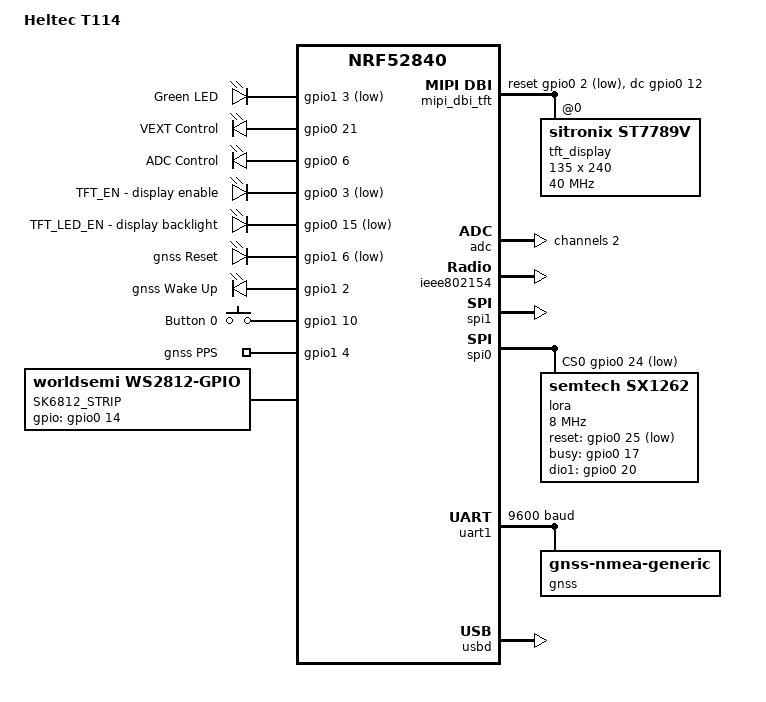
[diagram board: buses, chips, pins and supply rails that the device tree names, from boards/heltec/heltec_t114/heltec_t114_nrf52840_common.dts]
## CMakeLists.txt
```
cmake_minimum_required(VERSION 3.20.0)

set(APP "t114-support")
set(CXX_STANDARD C++17)
# list(APPEND BOARD_ROOT ${CMAKE_CURRENT_SOURCE_DIR})
find_package(Zephyr REQUIRED HINTS $ENV{ZEPHYR_BASE})

project(${APP})

file(GLOB_RECURSE APP_C_SOURCES 
    ${CMAKE_CURRENT_SOURCE_DIR}/src/*.c
    ${CMAKE_CURRENT_SOURCE_DIR}/boards/*.c
)

file(GLOB_RECURSE APP_H_SOURCES 
    ${CMAKE_CURRENT_SOURCE_DIR}/src/*.h
    ${CMAKE_CURRENT_SOURCE_DIR}/boards/*.h
)

target_sources(app PRIVATE ${APP_C_SOURCES})
target_include_directories(app PRIVATE src ${ZEPHYR_BASE}/boards/heltec/heltec_t114_v2)

set(ALLOWED_BOARDS "promicro_nrf52840;heltec_t114_v2")
list(FIND ALLOWED_BOARDS ${BOARD} BOARD_INDEX)
if(BOARD_INDEX EQUAL -1)
  message(FATAL_ERROR 
    "This application is intended to be built only for the following boards: ${ALLOWED_BOARDS}. Current BOARD is: ${BOARD}")
endif()


add_custom_target(fix
    COMMAND clang-format -i --style=file:${ZEPHYR_BASE}/.clang-format ${APP_C_SOURCES} ${APP_H_SOURCES}
    COMMENT "Formatting source files with Zephyr style"
)
```

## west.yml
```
manifest:
  remotes:
    - name: zephyrproject
      url-base: https://github.com/zephyrproject-rtos
    - name: zephyr-fork
      url-base: https://github.com/fgr-17

  defaults:
    remote: zephyrproject

  projects:
    - name: zephyr
      path: zephyr
      remote: zephyr-fork
      # revision: v4.3.0
      revision: heltec_t114_v2
      import: true
      west-commands: scripts/west-commands.yml 

  self:
    path: .
```

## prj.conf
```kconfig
CONFIG_GPIO=y

CONFIG_UART_LINE_CTRL=y
CONFIG_LOG=y

CONFIG_SERIAL=y
CONFIG_GPIO=y
CONFIG_BOOTLOADER_MCUBOOT=n

CONFIG_LED_STRIP=y

CONFIG_ADC=y

# Display support - SPI only
CONFIG_DISPLAY=y
CONFIG_SPI=y

# ST7735 display driver  
CONFIG_ST7789V=y

# SX1262 support
CONFIG_LORA=y
CONFIG_LORA_SX126X=y

# GNSS support
CONFIG_SERIAL=y
CONFIG_UART_INTERRUPT_DRIVEN=y
CONFIG_RING_BUFFER=y
CONFIG_GNSS=y
CONFIG_GNSS_SATELLITES=y
CONFIG_STATIC_INIT_GNU=y

CONFIG_ASSERT=n
CONFIG_STACK_SENTINEL=n
CONFIG_SIZE_OPTIMIZATIONS=y
CONFIG_NO_OPTIMIZATIONS=n
```

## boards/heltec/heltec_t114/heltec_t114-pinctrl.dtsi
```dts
/*
 * Copyright (c) 2024 MASSDRIVER EI (massdriver.space)
 * SPDX-License-Identifier: Apache-2.0
 */

&pinctrl {
	uart0_default: uart0_default {
		group1 {
			psels = <NRF_PSEL(UART_TX, 0, 9)>,
				<NRF_PSEL(UART_RX, 0, 10)>;
		};
	};

	uart0_sleep: uart0_sleep {
		group1 {
			psels = <NRF_PSEL(UART_TX, 0, 9)>,
				<NRF_PSEL(UART_RX, 0, 10)>;
			low-power-enable;
		};
	};

	i2c1_default: i2c1_default {
		group1 {
			psels = <NRF_PSEL(TWIM_SDA, 1, 4)>,
				<NRF_PSEL(TWIM_SCL, 1, 6)>;
		};
	};

	i2c1_sleep: i2c1_sleep {
		group1 {
			psels = <NRF_PSEL(TWIM_SDA, 1, 4)>,
				<NRF_PSEL(TWIM_SCL, 1, 6)>;
			low-power-enable;
		};
	};

	pwm0_default: pwm0_default {
		group1 {
			psels = <NRF_PSEL(PWM_OUT0, 0, 15)>;
		};
	};

	pwm0_sleep: pwm0_sleep {
		group1 {
			psels = <NRF_PSEL(PWM_OUT0, 0, 15)>;
			low-power-enable;
		};
	};

	tft_spi_pins: tft_spi_pins {
        group1 {
            psels = <NRF_PSEL(SPIM_SCK, 1, 8)>,
                   <NRF_PSEL(SPIM_MOSI, 1, 9)>;
        };
    };

	lora_spi_pins: lora_spi_pins {
		group1 {
			psels = <NRF_PSEL(SPIM_SCK, 0, 19)>,
					<NRF_PSEL(SPIM_MOSI, 0, 22)>,
					<NRF_PSEL(SPIM_MISO, 0, 23)>;
		};
	};
};
```

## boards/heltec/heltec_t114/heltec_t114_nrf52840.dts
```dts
/*
 * Copyright (c) 2024 MASSDRIVER EI (massdriver.space)
 *
 * SPDX-License-Identifier: Apache-2.0
 */

/dts-v1/;
#include "heltec_t114_nrf52840_common.dts"
#include <nordic/nrf52840_partition.dtsi>
```

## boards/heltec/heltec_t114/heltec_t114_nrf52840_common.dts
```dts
/*
 * Copyright (c) 2024 MASSDRIVER EI (massdriver.space)
 * Copyright (c) 2018-2023 Nordic Semiconductor ASA
 * Copyright (c) 2017 Linaro Limited
 *
 * SPDX-License-Identifier: Apache-2.0
 */

/dts-v1/;
#include <nordic/nrf52840_qiaa.dtsi>
#include "heltec_t114-pinctrl.dtsi"
#include <zephyr/dt-bindings/input/input-event-codes.h>
#include <zephyr/dt-bindings/led/led.h>
#include <zephyr/dt-bindings/mipi_dbi/mipi_dbi.h>
#include <dt-bindings/lora/sx126x.h>

/ {
	model = "Heltec T114";
	compatible = "others,heltec-t114";

	chosen {
		zephyr,sram = &sram0;
		zephyr,flash = &flash0;
		zephyr,ieee802154 = &ieee802154;
		zephyr,display = &tft_display;  /* ← Add this line */
	};

	digital_outputs {
		compatible = "gpio-leds";

		led4: led_4 {
			gpios = <&gpio1 3 GPIO_ACTIVE_LOW>;
			label = "Green LED";
		};

		vext_control:vext_control {
			gpios = <&gpio0 21 GPIO_ACTIVE_HIGH>;
			label = "VEXT Control";
		};

		adc_control:adc_control {
			gpios = <&gpio0 6 GPIO_ACTIVE_HIGH>;
			label = "ADC Control";
		};

		tft_en:tft_en {
			gpios = <&gpio0 3 GPIO_ACTIVE_LOW>;
			label = "TFT_EN - display enable";
		};
		
		tft_led_en:tft_led_en {
			gpios = <&gpio0 15 GPIO_ACTIVE_LOW>;
			label = "TFT_LED_EN - display backlight";
		};

		gnss_rst: gnss_rst {
			gpios = <&gpio1 6 GPIO_ACTIVE_LOW>;
			label = "gnss Reset";
		};
		
		gnss_wakeup: gnss_wakeup {
			gpios = <&gpio1 2 GPIO_ACTIVE_HIGH>;
			label = "gnss Wake Up";
		};
	};

	buttons {
		compatible = "gpio-keys";
	
		button0: button_0 {
			gpios = <&gpio1 10 GPIO_ACTIVE_HIGH>;
			label = "Button 0";
			zephyr,code = <INPUT_KEY_0>;
		};
	};

	gnss_pps {
        compatible = "gpio-keys";
        gnss_pps_pin: gnss_pps {
            gpios = <&gpio1 4 GPIO_ACTIVE_HIGH>;  /* P1.04 */
            label = "gnss PPS";
        };
    };

	led_strip:led_strip {
		compatible = "worldsemi,ws2812-gpio";
		label = "SK6812_STRIP";
		gpios = <&gpio0 14 GPIO_ACTIVE_HIGH>;
		chain-length = <2>;
		color-mapping = <LED_COLOR_ID_GREEN
						LED_COLOR_ID_RED
						LED_COLOR_ID_BLUE>;
		status = "okay";
	};

	mipi_dbi_tft {
		compatible = "zephyr,mipi-dbi-spi";
		spi-dev = <&spi1>;
		write-only;
		dc-gpios = <&gpio0 12 GPIO_ACTIVE_HIGH>;  // PIN_TFT_DC = P0.12
		reset-gpios = <&gpio0 2 GPIO_ACTIVE_LOW>; // PIN_TFT_RST = P0.02
		#address-cells = <1>;
		#size-cells = <0>;

		tft_display: st7789v@0 {
			compatible = "sitronix,st7789v";
			mipi-max-frequency = <40000000>;
			reg = <0>;
			width = <135>;
			height = <240>;
			x-offset = <52>;
			y-offset = <40>;
			vcom = <0x19>;
			gctrl = <0x35>;
			vrhs = <0x12>;
			vdvs = <0x20>;
			mdac = <0x00>;
			gamma = <0x01>;
			colmod = <0x55>;
			lcm = <0x2c>;
			porch-param = [0c 0c 00 33 33];
			cmd2en-param = [5a 69 02 01];
			pwctrl1-param = [a4 a1];
			pvgam-param = [D0 04 0D 11 13 2B 3F 54 4C 18 0D 0B 1F 23];
			nvgam-param = [D0 04 0C 11 13 2C 3F 44 51 2F 1F 1F 20 23];
			ram-param = [00 F0];
			rgb-param = [CD 08 14];
			mipi-mode = "MIPI_DBI_MODE_SPI_4WIRE";
			status = "okay";
		};
	};

	aliases {
		led4 = &led4;
		led-strip = &led_strip;
		button0 = &button0;
		mcuboot-led4 = &led4;
		watchdog0 = &wdt0;
		vext-control = &vext_control;
		adc-control = &adc_control;
		tft-en = &tft_en;
		tft-led-en = &tft_led_en; 
		gnss-rst = &gnss_rst;
		gnss-wakeup = &gnss_wakeup;
	};
};

&adc {
	status = "okay";
	#address-cells = <1>;
	#size-cells = <0>;
	io-channels = <&adc 2>;

	channel@2 {
		reg = <2>;                  /* AIN2 */
		zephyr,gain = "ADC_GAIN_1_6";
		zephyr,reference = "ADC_REF_INTERNAL";
		zephyr,acquisition-time = <ADC_ACQ_TIME_DEFAULT>;
		zephyr,input-positive = <NRF_SAADC_AIN2>;
		zephyr,resolution = <12>;
	};
};

&gpiote {
	status = "okay";
};

&uicr {
	nfct-pins-as-gpios;
	gpio-as-nreset;
};

&gpio0 {
	status = "okay";
};

&gpio1 {
	status = "okay";
};

&led_strip {
	status = "okay";
};

&ieee802154 {
	status = "okay";
};

&spi1 {
    status = "okay";
    pinctrl-0 = <&tft_spi_pins>; 
    pinctrl-names = "default";
    cs-gpios = <&gpio0 11 GPIO_ACTIVE_LOW>; /* PIN_TFT_CS = P0.11 */
};

&spi0 {
    status = "okay";
    pinctrl-0 = <&lora_spi_pins>;
    pinctrl-names = "default";
    cs-gpios = <&gpio0 24 GPIO_ACTIVE_LOW>;

    lora: sx1262@0 {
		compatible = "semtech,sx1262";
		reg = <0>;
		spi-max-frequency = <8000000>;
		reset-gpios = <&gpio0 25 GPIO_ACTIVE_LOW>;
		busy-gpios = <&gpio0 17 GPIO_ACTIVE_HIGH>;
		dio1-gpios = <&gpio0 20 GPIO_ACTIVE_HIGH>;
		dio2-tx-enable;
		dio3-tcxo-voltage = <SX126X_DIO3_TCXO_1V8>;
		tcxo-power-startup-delay-ms = <5>;
		status = "okay";
	};
};

&uart1 {
    compatible = "nordic,nrf-uarte";
    status = "okay";
    current-speed = <9600>;
    pinctrl-0 = <&gnss_uart_pins>;
    pinctrl-names = "default";

	gnss: gnss-nmea-generic {
		compatible = "gnss-nmea-generic";
		status = "okay";
	};
};

zephyr_udc0: &usbd {
	status = "okay";
};
#include <../boards/common/usb/cdc_acm_serial.dtsi>
```

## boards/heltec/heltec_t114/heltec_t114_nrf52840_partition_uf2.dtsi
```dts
/**
 * UF2 flash layout for Heltec T114 nRF52840
 * App starts at 0x26000 to match original Arduino project linker 
 * [nrf52840_s140_v6.ld](https://github.com/HelTecAutomation/Heltec_nRF52/blob/main/cores/nRF5/linker/nrf52840_s140_v6.ld)
 * MEMORY
 * {
 *   FLASH (rx)     : ORIGIN = 0x26000, LENGTH = 0xED000 - 0x26000
 */
 / {
	chosen {
		zephyr,code-partition = &code_partition;
	};
};

&flash0 {
	partitions {
		compatible = "fixed-partitions";
		#address-cells = <1>;
		#size-cells = <1>;

		/* 0x00000-0x26000: MBR + SoftDevice S140 6.1.1 */
		sd_partition: partition@0 {
			label = "mbr_sd";
			reg = <0x00000000 0x00026000>;
			read-only;
		};

		code_partition: partition@26000 {
			label = "code_partition";
			reg = <0x00026000 0x000c7000>;
		};

		storage_partition: partition@ed000 {
			label = "storage";
			reg = <0x000ed000 0x0000f000>;
		};

		boot_partition: partition@fc000 {
			label = "bootloader";
			reg = <0x000fc000 0x00004000>;
			read-only;
		};
	};
};
```

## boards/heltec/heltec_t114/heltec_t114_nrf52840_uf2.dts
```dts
/*
 * Copyright (c) 2024 MASSDRIVER EI (massdriver.space)
 *
 * SPDX-License-Identifier: Apache-2.0
 */

/dts-v1/;
#include "heltec_t114_nrf52840_common.dts"
// #include <nordic/nrf52840_partition_uf2_sdv6.dtsi>
#include "heltec_t114_nrf52840_partition_uf2.dtsi"
```

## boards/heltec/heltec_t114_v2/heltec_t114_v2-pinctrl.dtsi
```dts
/*
 * Copyright (c) 2024 MASSDRIVER EI (massdriver.space)
 * SPDX-License-Identifier: Apache-2.0
 */

&pinctrl {
	uart0_default: uart0_default {
		group1 {
			psels = <NRF_PSEL(UART_TX, 0, 9)>,
				<NRF_PSEL(UART_RX, 0, 10)>;
		};
	};

	uart0_sleep: uart0_sleep {
		group1 {
			psels = <NRF_PSEL(UART_TX, 0, 9)>,
				<NRF_PSEL(UART_RX, 0, 10)>;
			low-power-enable;
		};
	};

	i2c1_default: i2c1_default {
		group1 {
			psels = <NRF_PSEL(TWIM_SDA, 1, 4)>,
				<NRF_PSEL(TWIM_SCL, 1, 6)>;
		};
	};

	i2c1_sleep: i2c1_sleep {
		group1 {
			psels = <NRF_PSEL(TWIM_SDA, 1, 4)>,
				<NRF_PSEL(TWIM_SCL, 1, 6)>;
			low-power-enable;
		};
	};

	pwm0_default: pwm0_default {
		group1 {
			psels = <NRF_PSEL(PWM_OUT0, 0, 15)>;
		};
	};

	pwm0_sleep: pwm0_sleep {
		group1 {
			psels = <NRF_PSEL(PWM_OUT0, 0, 15)>;
			low-power-enable;
		};
	};

	tft_spi_pins: tft_spi_pins {
        group1 {
            psels = <NRF_PSEL(SPIM_SCK, 1, 8)>,
                   <NRF_PSEL(SPIM_MOSI, 1, 9)>;
        };
    };

	lora_spi_pins: lora_spi_pins {
		group1 {
			psels = <NRF_PSEL(SPIM_SCK, 0, 19)>,
					<NRF_PSEL(SPIM_MOSI, 0, 22)>,
					<NRF_PSEL(SPIM_MISO, 0, 23)>;
		};
	};

	gnss_uart_pins: gnss_uart_pins {
		group1 {
			psels = <NRF_PSEL(UART_TX, 1, 7)>,
					<NRF_PSEL(UART_RX, 1, 5)>;
		};
	};
};
```

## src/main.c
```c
#include <zephyr/logging/log.h>
#include "board_init.h"
#include "led_strip_test.h"
#include "tft_display_test.h"

#include <hal/nrf_saadc.h>

#define ADC_TIME_INTERVAL  2000
#define LORA_TIME_INTERVAL 2000

LOG_MODULE_REGISTER(main, LOG_LEVEL_DBG);

/* LoRa configuration */
struct lora_modem_config config = {
	.frequency = 868000000,
	.bandwidth = BW_125_KHZ,
	.datarate = SF_7,
	.coding_rate = CR_4_5,
	.preamble_len = 8,
	.tx_power = 14,
	.tx = true,
};

/**
 * @brief Initialize the LoRa modem
 * @returns 0 on success, 1 on failure
 */
static int lora_init()
{
	if (lora_config(lora_dev, &config)) {
		LOG_ERR("LoRa configuration failed");
		return 1;
	}
	LOG_INF("LoRa configured successfully!");
	return 0;
}

/**
 * @brief Send a LoRa message with Waveshare DTU header
 * @param message - null-terminated string to send
 * @return 0 on success, negative error code on failure
 */

int lora_send_message_waveshare_dtu(const char *message)
{
	if (!message) {
		return -EINVAL;
	}

	uint8_t tx_buf[255];
	size_t payload_len = strlen(message);

	if (payload_len > 251) {
		payload_len = 251;
	}

	size_t total_len = 4 + payload_len;

	tx_buf[0] = 0x00; /* Address high byte */
	tx_buf[1] = 0x00; /* Address low byte */
	tx_buf[2] = 0x00; /* Network ID */
	tx_buf[3] = (uint8_t)total_len;

	memcpy(&tx_buf[4], message, payload_len);

	return lora_send(lora_dev, tx_buf, total_len);
}

/* ------------------------------------------------------------ */

/* adc configuration */
static int16_t sample_buffer[1];
static const struct adc_sequence sequence = {
	.channels = BIT(2), // Channel 2 (AIN2)
	.buffer = sample_buffer,
	.buffer_size = sizeof(sample_buffer),
	.resolution = 12,
};

static const struct adc_channel_cfg channel_cfg = {
	.gain = ADC_GAIN_1_6,
	.reference = ADC_REF_INTERNAL,
	.acquisition_time = ADC_ACQ_TIME_DEFAULT,
	.channel_id = 2,
	.differential = 0,
	.input_positive = NRF_SAADC_INPUT_AIN2,
	.input_negative = NRF_SAADC_INPUT_DISABLED,
};

static struct gpio_callback button_cb_data;

/**
 * @brief Configure the ADC
 * @returns 0 on success, negative error code on failure
 */

static int adc_config()
{
	if (adc_channel_setup(adc_dev, &channel_cfg)) {
		LOG_ERR("ADC channel setup failed");
		return -EINVAL;
	}
	LOG_INF("ADC configured correctly!");
	return 0;
}
/* ------------------------------------------------------------ */

/* button config*/

/**
 * @brief Callback function for button pressed
 * @param dev - device pointer
 * @param cb - callback pointer
 * @param pins - pins bitmask
 */

void button_pressed_cb(const struct device *dev, struct gpio_callback *cb, uint32_t pins)
{
	static uint8_t counter = 1;
	gpio_pin_toggle_dt(&led);
	sk6812_pixel_rotate();
	LOG_INF("Button pressed %d times", counter++);
}

/**
 * @brief Configure the button
 * @returns 0 on success, negative error code on failure
 */

static int button_config()
{
	if (gpio_pin_interrupt_configure_dt(&button, GPIO_INT_EDGE_TO_ACTIVE)) {
		LOG_ERR("Button interrupt configure failed");
		return -EINVAL;
	}

	gpio_init_callback(&button_cb_data, button_pressed_cb, BIT(button.pin));
	gpio_add_callback(button.port, &button_cb_data);

	LOG_INF("Button configured correctly!");
	return 0;
}
/* ------------------------------------------------------------ */

/* GNSS config */

/**
 * @brief Callback function for GNSS data
 * @param dev - device pointer
 * @param data - GNSS data pointer
 */

static void gnss_data_cb(const struct device *dev, const struct gnss_data *data)
{
	if (data->info.fix_status != GNSS_FIX_STATUS_NO_FIX) {
		LOG_INF("GNSS FIX: %.6f, %.6f | Alt: %d.%dm | Sats: %d",
			data->nav_data.latitude / 1000000.0, data->nav_data.longitude / 1000000.0,
			data->nav_data.altitude / 1000, data->nav_data.altitude % 1000,
			data->info.satellites_cnt);
	} else {
		LOG_INF("GNSS: No fix | Sats: %d", data->info.satellites_cnt);
	}
}

GNSS_DATA_CALLBACK_DEFINE(DEVICE_DT_GET(DT_NODELABEL(gnss)), gnss_data_cb);
/** ------------------------------------------------------------ */

/* main function */
int main(void)
{
	LOG_INF("Hello World");
	button_config();
	adc_config();
	tft_display_test();
	lora_init();

	if (lora_send_message_waveshare_dtu("Initializing T114\n\r")) {
		LOG_ERR("Failed to send LoRa message");
		return -EINVAL;
	}

	LOG_INF("============ Starting main loop ============");
	while (1) {
		int ret = 0;

		static int64_t last_adc = 0;
		static int64_t last_lora = 0;

		int64_t now = k_uptime_get();

		if (now - last_adc > ADC_TIME_INTERVAL) {
			ret = adc_read(adc_dev, &sequence);
			if (ret == 0) {
				LOG_INF("ADC AIN2 Value: %d", sample_buffer[0]);
			} else {
				LOG_ERR("ADC read failed: %d", ret);
			}
			last_adc = now;
		}

		if (now - last_lora > LORA_TIME_INTERVAL) {
			char msg[64];
			snprintf(msg, sizeof(msg), "ADC Value: %d", sample_buffer[0]);
			lora_send_message_waveshare_dtu(msg);
			if (ret) {
				LOG_ERR("Failed to send LoRa message: %d", ret);
			}
			last_lora = now;
		}
		k_msleep(10);
	}
	return 0;
}
```

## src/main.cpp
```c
#include <string.h>
#include <stdlib.h>

#include <zephyr/kernel.h>
#include <zephyr/device.h>
#include <zephyr/devicetree.h>
#include <zephyr/drivers/gpio.h>
#include <zephyr/drivers/led_strip.h>
#include <zephyr/drivers/uart.h>
#include <zephyr/drivers/adc.h>
#include <zephyr/logging/log.h>
#include <zephyr/drivers/display.h>
#include <zephyr/sys/byteorder.h>
#include <zephyr/drivers/lora.h>
#include <zephyr/drivers/gnss.h>

#include <hal/nrf_saadc.h>


LOG_MODULE_REGISTER(main, LOG_LEVEL_DBG);

#define LED4_NODE DT_ALIAS(led4)
#if !DT_NODE_HAS_STATUS(LED4_NODE, okay)
#error "Unsupported board: led4 device tree alias is not defined"
#endif

#define BUTTON0_NODE DT_ALIAS(button0)
#if !DT_NODE_HAS_STATUS(BUTTON0_NODE, okay)
#error "Unsupported board: button0 device tree alias is not defined"
#endif

#define STRIP_NODE DT_NODELABEL(led_strip)
#if !DT_NODE_HAS_STATUS(STRIP_NODE, okay)
#error "Unsupported board: led_strip device tree node is not defined"
#endif

#define VEXT_CONTROL_NODE DT_ALIAS(vext_control)
#if !DT_NODE_HAS_STATUS(VEXT_CONTROL_NODE, okay)
#error "Unsupported board: VEXT_NODE device tree alias is not defined"
#endif

#define ADC_CONTROL_NODE DT_ALIAS(adc_control)
#if !DT_NODE_HAS_STATUS(ADC_CONTROL_NODE, okay)
#error "Unsupported board: ADC_CONTROL_NODE device tree alias is not defined"
#endif

#define TFT_EN_NODE DT_ALIAS(tft_en)
#if !DT_NODE_HAS_STATUS(TFT_EN_NODE, okay)
#error "Unsupported board: TFT_EN_NODE device tree alias is not defined"
#endif

#define TFT_LED_EN DT_ALIAS(tft_led_en)
#if !DT_NODE_HAS_STATUS(TFT_LED_EN, okay)
#error "Unsupported board: TFT_LED_EN device tree alias is not defined"
#endif


static const struct gpio_dt_spec led = GPIO_DT_SPEC_GET(LED4_NODE, gpios);
static const struct gpio_dt_spec button = GPIO_DT_SPEC_GET(BUTTON0_NODE, gpios);
static const struct gpio_dt_spec vext_ctl = GPIO_DT_SPEC_GET(VEXT_CONTROL_NODE, gpios);
static const struct gpio_dt_spec adc_ctl = GPIO_DT_SPEC_GET(ADC_CONTROL_NODE, gpios);
static const struct gpio_dt_spec tft_en = GPIO_DT_SPEC_GET(TFT_EN_NODE, gpios);
static const struct gpio_dt_spec tft_led_en = GPIO_DT_SPEC_GET(TFT_LED_EN, gpios);
static const struct gpio_dt_spec gnss_rst = GPIO_DT_SPEC_GET(DT_ALIAS(gnss_rst), gpios);
static const struct gpio_dt_spec gnss_wakeup = GPIO_DT_SPEC_GET(DT_ALIAS(gnss_wakeup), gpios);

static const struct device *strip = DEVICE_DT_GET(STRIP_NODE);
static const struct device *adc_dev = DEVICE_DT_GET(DT_NODELABEL(adc));
static const struct device *display = DEVICE_DT_GET(DT_NODELABEL(tft_display));
static const struct device *lora_dev = DEVICE_DT_GET(DT_NODELABEL(lora));
static const struct device *gnss_uart = DEVICE_DT_GET(DT_NODELABEL(uart1));
static const struct device *gnss_dev = DEVICE_DT_GET(DT_NODELABEL(gnss));


struct lora_modem_config config = {
    .frequency = 868000000,  /* 915 MHz, adjust for your region */
    .bandwidth = BW_125_KHZ,
    .datarate = SF_7,
    .coding_rate = CR_4_5,
    .preamble_len = 8,
    .tx_power = 14,
    .tx = true,
};

int lora_init() {
    if (!device_is_ready(lora_dev)) {
        LOG_ERR("LoRa device not ready");
        return 1;
    }
    if (lora_config(lora_dev, &config)) {
        LOG_ERR("LoRa configuration failed");
        return 1;
    }
    LOG_INF("LoRa configured successfully!");
    return 0;
}

static int16_t sample_buffer[1];
static const struct adc_sequence sequence = {
    .channels = BIT(2),  // Channel 2 (AIN2)
    .buffer = sample_buffer,
    .buffer_size = sizeof(sample_buffer),
    .resolution = 12,
};

static const struct adc_channel_cfg channel_cfg = {
    .gain = ADC_GAIN_1_6,                    
    .reference = ADC_REF_INTERNAL,           
    .acquisition_time = ADC_ACQ_TIME_DEFAULT,
    .channel_id = 2,                         
    .differential = 0,                       
    .input_positive = NRF_SAADC_INPUT_AIN2,  
    .input_negative = NRF_SAADC_INPUT_DISABLED,
};


static struct gpio_callback button_cb_data;


int sk6812_init(void)
{
    if (!device_is_ready(strip)) {
        LOG_ERR("SK6812 strip not ready");
        return 1;
    }
    return 0;
}

#define COLOR_OFF     { .r = 0x00, .g = 0x00, .b = 0x00 }
#define COLOR_RED     { .r = 0xFF, .g = 0x00, .b = 0x00 }
#define COLOR_GREEN   { .r = 0x00, .g = 0xFF, .b = 0x00 }
#define COLOR_BLUE    { .r = 0x00, .g = 0x00, .b = 0xFF }
#define COLOR_WHITE   { .r = 0xFF, .g = 0xFF, .b = 0xFF }

led_rgb colors[] = {
    COLOR_OFF,
    COLOR_RED,
    COLOR_GREEN,
    COLOR_BLUE,
    COLOR_WHITE,
    COLOR_OFF,
};

uint8_t pixel0_index = 0;
uint8_t pixel1_index = 1;


int sk6812_pixel_rotate() {
    struct led_rgb pixels[2] = {
        colors[pixel0_index],
        colors[pixel1_index]};

    pixel0_index = (pixel0_index + 1) % ARRAY_SIZE(colors);
    pixel1_index = (pixel1_index + 1) % ARRAY_SIZE(colors);

    int ret = led_strip_update_rgb(strip, pixels, 2);
    if (ret) {
        LOG_ERR("LED update failed: %d", ret);
        return 1;
    }

    return 0;
}

int vext_activate() {
    return gpio_pin_set_dt(&vext_ctl, 1);
}

void button_pressed(const struct device *dev, struct gpio_callback *cb, uint32_t pins) {
    static uint8_t counter = 1;
    gpio_pin_toggle_dt(&led);
    sk6812_pixel_rotate();
    LOG_INF("Button pressed %d times", counter++);
}

int vext_config() {
    int ret = 0;
    if (!device_is_ready(vext_ctl.port)) {
        LOG_ERR("VEXT not ready");
        return 1;
    }

    if (gpio_pin_configure_dt(&vext_ctl, GPIO_OUTPUT) < 0) {
        LOG_ERR("VEXT configure failed: %d", ret);
        return 1;
    }

    if(vext_activate()) {
        LOG_ERR("Couldn't activate VEXT");
        return 1;
    }

    LOG_INF("VEXT control pin configured and activated correctly");
    return 0;
}

int led_config() {
    int ret = 0;
    if (!device_is_ready(led.port)) {
        LOG_ERR("LED not ready");
        return 1;
    }
    
    ret = gpio_pin_configure_dt(&led, GPIO_OUTPUT);
    if (ret < 0) {
        LOG_ERR("LED configure failed: %d", ret);
        return 1;
    }

    LOG_INF("Green led configured correctly");
    return 0;
}

int button_config() {
    int ret = 0;
    if (!device_is_ready(button.port)) {
        LOG_ERR("Button not ready");
        return 1;
    }

    ret = gpio_pin_configure_dt(&button, GPIO_INPUT);
    if (ret < 0) {
        LOG_ERR("Button configure failed: %d", ret);
        return 1;
    }

    ret = gpio_pin_interrupt_configure_dt(&button, GPIO_INT_EDGE_TO_ACTIVE);
    if (ret < 0) {
        LOG_ERR("Button interrupt configure failed: %d", ret);
        return 1;
    }

    gpio_init_callback(&button_cb_data, button_pressed, BIT(button.pin));
    gpio_add_callback(button.port, &button_cb_data);
    
    LOG_INF("Button configured correctly!");
    return 0;
}

int battery_read_config(){
    int ret  = 0;
    if (!device_is_ready(adc_ctl.port)) {
        LOG_ERR("ADC control GPIO not ready");
        return 1;
    }
    
    ret = gpio_pin_configure_dt(&adc_ctl, GPIO_OUTPUT);
    if (ret < 0) {
        LOG_ERR("ADC control configure failed: %d", ret);
        return 1;
    }
    
    ret = gpio_pin_set_dt(&adc_ctl, 1);
    if (ret < 0) {
        LOG_ERR("ADC control set failed: %d", ret);
        return 1;
    }
    k_sleep(K_MSEC(10)); 
    
    if (!device_is_ready(adc_dev)) {
        LOG_ERR("ADC device not ready");
        return 1;
    }

    ret = adc_channel_setup(adc_dev, &channel_cfg);
    if (ret < 0) {
        LOG_ERR("ADC channel setup failed: %d", ret);
        return 1;
    }

    LOG_INF("ADC initialized successfully");
    return 0;
}

int tft_init() {
    if (!device_is_ready(display)) {
        LOG_ERR("TFT display not ready");
        return -1;
    }
    
    LOG_INF("TFT display initialized");
    return 0;
}

int tft_enable_display() {
    
    int ret  = 0;
    if (!device_is_ready(tft_en.port)) {
        LOG_ERR("TFT_EN GPIO not ready");
        return 1;
    }
    
    ret = gpio_pin_configure_dt(&tft_en, GPIO_OUTPUT);
    if (ret < 0) {
        LOG_ERR("TFT_EN configure failed: %d", ret);
        return 1;
    }
    
    ret = gpio_pin_set_dt(&tft_en, 1);
    if (ret < 0) {
        LOG_ERR("TFT_EN set failed: %d", ret);
        return 1;
    }

    k_msleep(5);
    LOG_INF("TFT_EN pin configured correctly!");
    return 0;
}
// SYS_INIT(tft_enable_display, PRE_KERNEL_2, 0);

int tft_enable_backlight() {
    int ret  = 0;

    if (!device_is_ready(tft_led_en.port)) {
        LOG_ERR("TFT_LED_EN GPIO not ready");
        return 1;
    }
    
    ret = gpio_pin_configure_dt(&tft_led_en, GPIO_OUTPUT);
    if (ret < 0) {
        LOG_ERR("TFT_LED_EN configure failed: %d", ret);
        return 1;
    }
    
    ret = gpio_pin_set_dt(&tft_led_en, GPIO_ACTIVE_LOW);
    if (ret < 0) {
        LOG_ERR("TFT_LED_EN set failed: %d", ret);
        return 1;
    }
    k_msleep(5);
    LOG_INF("TFT_LED_EN pin configured correctly!");
    return 0;
}


void tft_clear(uint16_t color) {
    struct display_buffer_descriptor desc;
    static uint16_t line_buf[135];  // One line of pixels
    
    // Fill buffer with color
    for (int i = 0; i < 135; i++) {
        line_buf[i] = color;
    }
    
    desc.width = 135;
    desc.height = 1;
    desc.pitch = 135;
    desc.buf_size = sizeof(line_buf);
    
    // Write line by line
    for (int y = 0; y < 240; y++) {
        display_write(display, 0, y, &desc, line_buf);
    }
}

void tft_draw_border(uint16_t color) {
    uint16_t c = sys_cpu_to_be16(color);
    struct display_buffer_descriptor desc;
    
    static uint16_t h_line[135];
    for (int i = 0; i < 135; i++) h_line[i] = c;
    
    desc.width = 135;
    desc.height = 1;
    desc.pitch = 135;
    desc.buf_size = sizeof(h_line);
    
    display_write(display, 0, 0, &desc, h_line);      // Top edge
    display_write(display, 0, 239, &desc, h_line);    // Bottom edge
    
    // Left and right vertical lines (1 pixel wide, full height)
    static uint16_t pixel[1];
    pixel[0] = c;
    
    desc.width = 1;
    desc.height = 1;
    desc.pitch = 1;
    desc.buf_size = sizeof(pixel);
    
    for (int y = 0; y < 240; y++) {
        display_write(display, 0, y, &desc, pixel);    // Left edge
        display_write(display, 134, y, &desc, pixel);  // Right edge
    }
}

void tft_draw_corners(void) {
    struct display_buffer_descriptor desc;
    static uint16_t block[10 * 10];  // 10x10 pixel blocks
    
    desc.width = 10;
    desc.height = 10;
    desc.pitch = 10;
    desc.buf_size = sizeof(block);
    
    // Top-left: Red
    for (int i = 0; i < 100; i++) block[i] = sys_cpu_to_be16(0xF800);
    display_write(display, 0, 0, &desc, block);
    
    // Top-right: Green
    for (int i = 0; i < 100; i++) block[i] = sys_cpu_to_be16(0x07E0);
    display_write(display, 125, 0, &desc, block);  // 135 - 10 = 125
    
    // Bottom-left: Blue
    for (int i = 0; i < 100; i++) block[i] = sys_cpu_to_be16(0x001F);
    display_write(display, 0, 230, &desc, block);  // 240 - 10 = 230
    
    // Bottom-right: White
    for (int i = 0; i < 100; i++) block[i] = sys_cpu_to_be16(0xFFFF);
    display_write(display, 125, 230, &desc, block);
}

int tft_config() {
    if (tft_enable_display() < 0) {
        LOG_ERR("Failed to enable TFT display");
        return 1;
    }
    
    if (tft_enable_backlight() < 0) {
        LOG_ERR("Failed to enable TFT backlight");
        return 1;
    }
    
    if (tft_init() < 0) {
        LOG_ERR("Failed to initialize TFT display");
        return 1;
    }
    
    LOG_INF("Display blanking off");
    display_blanking_off(display);
    k_msleep(1000);
    
    LOG_INF("Display fill");
    
    struct display_buffer_descriptor buf_desc = {
        .width = 1,           // Width in pixels
        .height = 1,          // Height in pixels  
        .pitch = 2,           // Bytes per line (2 for RGB565)
    };
    
    // Test pixel data (RGB565 red)
    uint8_t test_pixel[2] = {0xF8, 0x00};
    
    #define TEST_SCREEN_WAIT 200
    // Write single pixel
    int ret = display_write(display, 10, 10, &buf_desc, test_pixel);
    if (ret < 0) {
        LOG_ERR("Display write failed: %d", ret);
    }
    k_msleep(TEST_SCREEN_WAIT);
    
    LOG_INF("Display black");
    tft_clear(sys_cpu_to_be16(0x0000));
    k_msleep(TEST_SCREEN_WAIT);

    LOG_INF("Display red");
    tft_clear(sys_cpu_to_be16(0xF800));  // Red
    k_msleep(TEST_SCREEN_WAIT);
    
    LOG_INF("Display green");
    tft_clear(sys_cpu_to_be16(0x07E0));  // Green
    k_msleep(TEST_SCREEN_WAIT);
    
    LOG_INF("Display blue");
    tft_clear(sys_cpu_to_be16(0x001F));  // Blue
    k_msleep(TEST_SCREEN_WAIT);
    
    LOG_INF("Display white");
    tft_clear(sys_cpu_to_be16(0xFFFF));  // White

    LOG_INF("Display black");
    tft_clear(sys_cpu_to_be16(0x0000));
    k_msleep(TEST_SCREEN_WAIT);

    LOG_INF("Display white border");
    tft_draw_border(0xFFFF);
    k_msleep(TEST_SCREEN_WAIT);

    LOG_INF("Display corner markers");
    tft_draw_corners();
    k_msleep(TEST_SCREEN_WAIT);

    return 0;
}

void debug_lora_gpios() {
    // Get GPIO specs from devicetree
    const struct gpio_dt_spec busy = GPIO_DT_SPEC_GET(DT_NODELABEL(lora), busy_gpios);
    const struct gpio_dt_spec dio1 = GPIO_DT_SPEC_GET(DT_NODELABEL(lora), dio1_gpios);
    
    gpio_pin_configure_dt(&busy, GPIO_INPUT);
    gpio_pin_configure_dt(&dio1, GPIO_INPUT);
    
    LOG_INF("Before lora_send:");
    LOG_INF("  BUSY (P0.17): %d", gpio_pin_get_dt(&busy));
    LOG_INF("  DIO1 (P0.20): %d", gpio_pin_get_dt(&dio1));
}

/**
 * Send a LoRa message with Waveshare DTU header
 * @param message - null-terminated string to send
 * @return 0 on success, negative error code on failure
 */

 int lora_send_message_waveshare_dtu(const char *message) {
    if (!message) return -EINVAL;
    
    uint8_t tx_buf[255];
    size_t payload_len = strlen(message);
    
    if (payload_len > 251) {
        payload_len = 251;
    }
    
    size_t total_len = 4 + payload_len;
    
    tx_buf[0] = 0x00;  /* Address high byte */
    tx_buf[1] = 0x00;  /* Address low byte */
    tx_buf[2] = 0x00;  /* Network ID */
    tx_buf[3] = (uint8_t)total_len;
    
    memcpy(&tx_buf[4], message, payload_len);
    
    return lora_send(lora_dev, tx_buf, total_len);
}

static void gnss_data_cb(const struct device *dev, const struct gnss_data *data) {
    if (data->info.fix_status != GNSS_FIX_STATUS_NO_FIX) {
        LOG_INF("GNSS FIX: %.6f, %.6f | Alt: %d.%dm | Sats: %d",
                data->nav_data.latitude / 1000000.0,
                data->nav_data.longitude / 1000000.0,
                data->nav_data.altitude / 1000,
                data->nav_data.altitude % 1000,
                data->info.satellites_cnt);
    } else {
        LOG_INF("GNSS: No fix | Sats: %d", data->info.satellites_cnt);
    }
}

int gnss_init() {
    if (!device_is_ready(gnss_dev)) {
        LOG_ERR("GNSS device not ready");
        return -1;
    }
    
    LOG_INF("GNSS subsystem initialized");
    return 0;
}

GNSS_DATA_CALLBACK_DEFINE(DEVICE_DT_GET(DT_NODELABEL(gnss)), gnss_data_cb);

int main(void) {
    int ret;

    LOG_INF("Hello, World!\n");

    ret = vext_config();
    if(ret) return ret;

    ret = led_config();
    if(ret) return ret;

    ret = button_config();
    if(ret) return ret;

    ret = sk6812_init();
    if(ret) return ret;

    ret = battery_read_config();
    if(ret) return ret;
    
    ret = tft_config();
    if(ret) return ret;

    ret = lora_init();
    if(ret) return ret;

    ret = gnss_init();
    if (ret) return ret;

    lora_send_message_waveshare_dtu("Initializing T114\n\r");
    if(ret) LOG_ERR("Failed to send LoRa message: %d", ret);
    

    LOG_INF("============ Starting main loop ============");
    while (1) {
            
        static int64_t last_adc = 0;
        static int64_t last_lora = 0;

        int64_t now = k_uptime_get();

        if (now - last_adc > 2000) {
            ret = adc_read(adc_dev, &sequence);
            if (ret == 0) {
                LOG_INF("ADC AIN2 Value: %d", sample_buffer[0]);
            } else {
                LOG_ERR("ADC read failed: %d", ret);
            }
            last_adc = now;
        }

        if (now - last_lora > 2000) {
            char msg[64];
            snprintf(msg, sizeof(msg), "ADC Value: %d", sample_buffer[0]);
            lora_send_message_waveshare_dtu(msg);
            if(ret) LOG_ERR("Failed to send LoRa message: %d", ret);
            last_lora = now;
        }

        k_msleep(10);

        // uint8_t rx_buf[255];
        // int16_t rssi;
        // int8_t snr;
        // int len;
        
        // LOG_INF("Waiting for LoRa packet...");
        // len = lora_recv(lora_dev, rx_buf, sizeof(rx_buf), K_SECONDS(10), &rssi, &snr);
        
        // if (len > 0) {
        //     LOG_INF("Received %d bytes, RSSI: %d, SNR: %d", len, rssi, snr);
        //     LOG_HEXDUMP_INF(rx_buf, static_cast<uint32_t>(len), "Data:");
        // } else if (len == 0) {
        //     LOG_INF("Timeout - no packet received");
        // } else {
        //     LOG_ERR("RX error: %d", len);
        // }
    }

    return 0;
}
```

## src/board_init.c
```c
/*
 * Copyright (c) 2023 The Zephyr Project Contributors
 * SPDX-License-Identifier: Apache-2.0
 */

#include "board_init.h"

#define LED4_NODE    DT_ALIAS(led4)
#define BUTTON0_NODE DT_ALIAS(button0)
#define STRIP_NODE   DT_NODELABEL(led_strip)

/* Board control GPIOs: fixed mapping so DTS does not need gpios on board_controls nodes */
#define BOARD_GPIO_SPEC(port_label, pin_num, flags)                                                \
	{.port = DEVICE_DT_GET(DT_NODELABEL(port_label)), .pin = (pin_num), .dt_flags = (flags)}

const struct gpio_dt_spec led = GPIO_DT_SPEC_GET(LED4_NODE, gpios);
const struct gpio_dt_spec button = GPIO_DT_SPEC_GET(BUTTON0_NODE, gpios);
const struct gpio_dt_spec vext_ctl = BOARD_GPIO_SPEC(gpio0, 21, GPIO_ACTIVE_HIGH);
const struct gpio_dt_spec adc_ctl = BOARD_GPIO_SPEC(gpio0, 6, GPIO_ACTIVE_HIGH);
const struct gpio_dt_spec tft_en = BOARD_GPIO_SPEC(gpio0, 3, GPIO_ACTIVE_LOW);
const struct gpio_dt_spec tft_led_en = BOARD_GPIO_SPEC(gpio0, 15, GPIO_ACTIVE_LOW);
const struct gpio_dt_spec gnss_rst = BOARD_GPIO_SPEC(gpio1, 6, GPIO_ACTIVE_LOW);
const struct gpio_dt_spec gnss_wakeup = BOARD_GPIO_SPEC(gpio1, 2, GPIO_ACTIVE_HIGH);

const struct device *led_strip = DEVICE_DT_GET(STRIP_NODE);
const struct device *adc_dev = DEVICE_DT_GET(DT_NODELABEL(adc));
const struct device *tft_display_dev = DEVICE_DT_GET(DT_NODELABEL(tft_display));
const struct device *lora_dev = DEVICE_DT_GET(DT_NODELABEL(lora));
const struct device *gnss_dev = DEVICE_DT_GET(DT_NODELABEL(gnss));

static int board_heltec_t114_v2_init(void)
{
	/* VEXT Control */
	/* ------------------------------------------------------------ */
	if (!device_is_ready(vext_ctl.port)) {
		return -ENODEV;
	}

	if (gpio_pin_configure_dt(&vext_ctl, GPIO_OUTPUT)) {
		return -EINVAL;
	}

	if (gpio_pin_set_dt(&vext_ctl, 1)) {
		return -EINVAL;
	}

	/* LED Strip */
	/* ------------------------------------------------------------ */
	if (!device_is_ready(led_strip)) {
		return -ENODEV;
	}

	if (!device_is_ready(led.port)) {
		return -ENODEV;
	}

	if (gpio_pin_configure_dt(&led, GPIO_OUTPUT)) {
		return -EINVAL;
	}

	/* Button */
	/* ------------------------------------------------------------ */
	if (!device_is_ready(button.port)) {
		return -ENODEV;
	}

	if (gpio_pin_configure_dt(&button, GPIO_INPUT)) {
		return -EINVAL;
	}

	/* ADC Control */
	/* ------------------------------------------------------------ */
	if (!device_is_ready(adc_ctl.port)) {
		return -ENODEV;
	}

	if (gpio_pin_configure_dt(&adc_ctl, GPIO_OUTPUT)) {
		return -EINVAL;
	}

	if (gpio_pin_set_dt(&adc_ctl, 1)) {
		return -EINVAL;
	}
	/* Wait for ADC to stabilize */
	k_msleep(10);

	if (!device_is_ready(adc_dev)) {
		return -ENODEV;
	}

	/* LoRa */
	/* ------------------------------------------------------------ */
	if (!device_is_ready(lora_dev)) {
		return -ENODEV;
	}

	/* GNSS */
	/* ------------------------------------------------------------ */
#ifdef CONFIG_GNSS
	if (!device_is_ready(gnss_dev)) {
		return -ENODEV;
	}

	if (!device_is_ready(gnss_rst.port)) {
		return -ENODEV;
	}

	if (gpio_pin_configure_dt(&gnss_rst, GPIO_OUTPUT)) {
		return -EINVAL;
	}

	if (!device_is_ready(gnss_wakeup.port)) {
		return -ENODEV;
	}

	if (gpio_pin_configure_dt(&gnss_wakeup, GPIO_OUTPUT)) {
		return -EINVAL;
	}
#endif

	return 0;
}

SYS_INIT(board_heltec_t114_v2_init, PRE_KERNEL_2, CONFIG_GPIO_INIT_PRIORITY);

#ifdef CONFIG_ST7789V
static int board_tft_init(void)
{
	if (!device_is_ready(tft_en.port)) {
		return -ENODEV;
	}

	if (gpio_pin_configure_dt(&tft_en, GPIO_OUTPUT)) {
		return -EINVAL;
	}

	if (gpio_pin_set_dt(&tft_en, 1)) {
		return -EINVAL;
	}
	k_msleep(5);

	if (!device_is_ready(tft_led_en.port)) {
		return -ENODEV;
	}

	if (gpio_pin_configure_dt(&tft_led_en, GPIO_OUTPUT)) {
		return -EINVAL;
	}

	if (gpio_pin_set_dt(&tft_led_en, 1)) {
		return -EINVAL;
	}
	k_msleep(5);

	if (!device_is_ready(tft_display_dev)) {
		return -ENODEV;
	}
	return 0;
}

SYS_INIT(board_tft_init, POST_KERNEL, 90);
#endif
```

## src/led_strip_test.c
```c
#include <zephyr/drivers/led_strip.h>
#include <zephyr/logging/log.h>

#include "board_init.h"
#include "led_strip_test.h"

LOG_MODULE_REGISTER(led_strip_test, LOG_LEVEL_DBG);

#define COLOR_OFF   {.r = 0x00, .g = 0x00, .b = 0x00}
#define COLOR_RED   {.r = 0xFF, .g = 0x00, .b = 0x00}
#define COLOR_GREEN {.r = 0x00, .g = 0xFF, .b = 0x00}
#define COLOR_BLUE  {.r = 0x00, .g = 0x00, .b = 0xFF}
#define COLOR_WHITE {.r = 0xFF, .g = 0xFF, .b = 0xFF}

struct led_rgb colors[] = {
	COLOR_OFF, COLOR_RED, COLOR_GREEN, COLOR_BLUE, COLOR_WHITE, COLOR_OFF,
};

uint8_t pixel0_index = 0;
uint8_t pixel1_index = 1;

/**
 * @brief Rotate the LED strip pixels
 * @return 0 on success, 1 on failure
 */

int sk6812_pixel_rotate()
{
	struct led_rgb pixels[2] = {colors[pixel0_index], colors[pixel1_index]};

	pixel0_index = (pixel0_index + 1) % ARRAY_SIZE(colors);
	pixel1_index = (pixel1_index + 1) % ARRAY_SIZE(colors);

	int ret = led_strip_update_rgb(led_strip, pixels, 2);
	if (ret) {
		LOG_ERR("LED update failed: %d", ret);
		return 1;
	}
	return 0;
}
```

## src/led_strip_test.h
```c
#ifndef LED_STRIP_TEST_H
#define LED_STRIP_TEST_H

#include <zephyr/drivers/led_strip.h>

int sk6812_pixel_rotate();

#endif
```

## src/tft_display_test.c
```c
#include <zephyr/drivers/display.h>
#include <zephyr/sys/byteorder.h>
#include <zephyr/logging/log.h>
#include "board_init.h"

LOG_MODULE_REGISTER(tft_display_test, LOG_LEVEL_DBG);

#define TEST_SCREEN_WAIT 200
#define TFT_WIDTH        DT_PROP(DT_NODELABEL(tft_display), width)
#define TFT_HEIGHT       DT_PROP(DT_NODELABEL(tft_display), height)

/**
 * @brief Clear the TFT display
 * @param color The color to clear the display with
 */
static void tft_clear(uint16_t color)
{
	struct display_buffer_descriptor desc;
	static uint16_t line_buf[TFT_WIDTH];

	for (int i = 0; i < TFT_WIDTH; i++) {
		line_buf[i] = color;
	}

	desc.width = TFT_WIDTH;
	desc.height = 1;
	desc.pitch = TFT_WIDTH;
	desc.buf_size = sizeof(line_buf);

	for (int y = 0; y < TFT_HEIGHT; y++) {
		display_write(tft_display_dev, 0, y, &desc, line_buf);
	}
}

/**
 * @brief Draw a border on the TFT display
 * @param color The color to draw the border with
 */
static void tft_draw_border(uint16_t color)
{
	uint16_t c = sys_cpu_to_be16(color);
	struct display_buffer_descriptor desc;

	static uint16_t h_line[TFT_WIDTH];
	for (int i = 0; i < TFT_WIDTH; i++) {
		h_line[i] = c;
	}

	desc.width = TFT_WIDTH;
	desc.height = 1;
	desc.pitch = TFT_WIDTH;
	desc.buf_size = sizeof(h_line);

	display_write(tft_display_dev, 0, 0, &desc, h_line);              // Top edge
	display_write(tft_display_dev, 0, TFT_HEIGHT - 1, &desc, h_line); // Bottom edge

	// Left and right vertical lines (1 pixel wide, full height)
	static uint16_t pixel[1];
	pixel[0] = c;

	desc.width = 1;
	desc.height = 1;
	desc.pitch = 1;
	desc.buf_size = sizeof(pixel);

	for (int y = 0; y < TFT_HEIGHT; y++) {
		display_write(tft_display_dev, 0, y, &desc, pixel);             // Left edge
		display_write(tft_display_dev, TFT_WIDTH - 1, y, &desc, pixel); // Right edge
	}
}

/**
 * @brief Draw corners on the TFT display
 */
static void tft_draw_corners(void)
{
	struct display_buffer_descriptor desc;
	static uint16_t block[10 * 10]; // 10x10 pixel blocks

	desc.width = 10;
	desc.height = 10;
	desc.pitch = 10;
	desc.buf_size = sizeof(block);

	// Top-left: Red
	for (int i = 0; i < 100; i++) {
		block[i] = sys_cpu_to_be16(0xF800);
	}
	display_write(tft_display_dev, 0, 0, &desc, block);

	// Top-right: Green
	for (int i = 0; i < 100; i++) {
		block[i] = sys_cpu_to_be16(0x07E0);
	}
	display_write(tft_display_dev, TFT_WIDTH - 10, 0, &desc, block); // TFT_WIDTH - 10 = 125

	// Bottom-left: Blue
	for (int i = 0; i < 100; i++) {
		block[i] = sys_cpu_to_be16(0x001F);
	}
	display_write(tft_display_dev, 0, TFT_HEIGHT - 10, &desc, block); // TFT_HEIGHT - 10 = 230

	// Bottom-right: White
	for (int i = 0; i < 100; i++) {
		block[i] = sys_cpu_to_be16(0xFFFF);
	}
	display_write(tft_display_dev, TFT_WIDTH - 10, TFT_HEIGHT - 10, &desc, block);
}

/**
 * @brief Test the TFT display
 */
void tft_display_test()
{
	LOG_INF("Display blanking off");
	display_blanking_off(tft_display_dev);
	k_msleep(TEST_SCREEN_WAIT);

	LOG_INF("Display black");
	tft_clear(sys_cpu_to_be16(0x0000));
	k_msleep(TEST_SCREEN_WAIT);

	LOG_INF("Display red");
	tft_clear(sys_cpu_to_be16(0xF800)); // Red
	k_msleep(TEST_SCREEN_WAIT);

	LOG_INF("Display green");
	tft_clear(sys_cpu_to_be16(0x07E0)); // Green
	k_msleep(TEST_SCREEN_WAIT);

	LOG_INF("Display blue");
	tft_clear(sys_cpu_to_be16(0x001F)); // Blue
	k_msleep(TEST_SCREEN_WAIT);

	LOG_INF("Display white");
	tft_clear(sys_cpu_to_be16(0xFFFF)); // White

	LOG_INF("Display black");
	tft_clear(sys_cpu_to_be16(0x0000));
	k_msleep(TEST_SCREEN_WAIT);

	LOG_INF("Display white border");
	tft_draw_border(0xFFFF);
	k_msleep(TEST_SCREEN_WAIT);

	LOG_INF("Display corner markers");
	tft_draw_corners();
	k_msleep(TEST_SCREEN_WAIT);
}
```

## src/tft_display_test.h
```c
#ifndef TFT_DISPLAY_TEST_H
#define TFT_DISPLAY_TEST_H

void tft_display_test();

#endif
```
